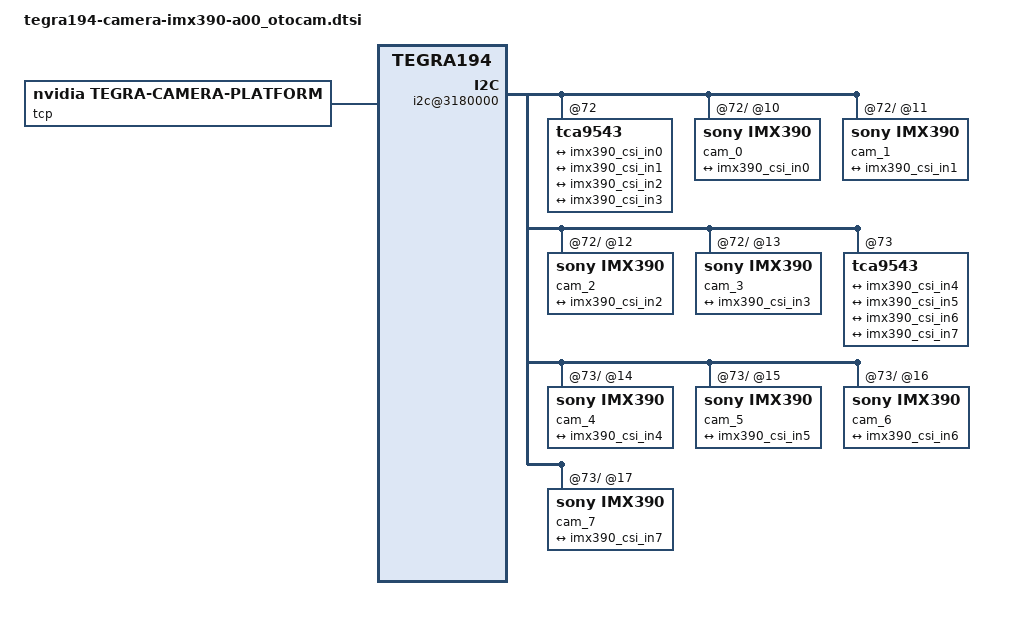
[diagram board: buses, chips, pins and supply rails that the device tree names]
/*
 * Copyright (c) 2018-2021, NVIDIA CORPORATION.  All rights reserved.
 *
 * This program is free software; you can redistribute it and/or modify it
 * under the terms and conditions of the GNU General Public License,
 * version 2, as published by the Free Software Foundation.
 *
 * This program is distributed in the hope it will be useful, but WITHOUT
 * ANY WARRANTY; without even the implied warranty of MERCHANTABILITY or
 * FITNESS FOR A PARTICULAR PURPOSE.  See the GNU General Public License for
 * more details.
 *
 * You should have received a copy of the GNU General Public License
 * along with this program.  If not, see <http://www.gnu.org/licenses/>.
 */
//#include <./tegra234-otocam-camera-all-mode.dtsi>
/ {
	tegra-capture-vi {
		num-channels = <8>;
		ports {
			#address-cells = <1>;
			#size-cells = <0>;
			port@0 {
				reg = <0>;
				imx390_vi_in0: endpoint {
					vc-id = <0>;
					port-index = <0>;
					bus-width = <4>;
					remote-endpoint = <&imx390_csi_out0>;
				};
			};
			port@1 {
				reg = <1>;
				imx390_vi_in1: endpoint {
					vc-id = <1>;
					port-index = <0>;
					bus-width = <4>;
					remote-endpoint = <&imx390_csi_out1>;
				};
			};
			port@2 {
					reg = <2>;
					imx390_vi_in2: endpoint {
						vc-id = <0>;
						port-index = <2>;
						bus-width = <4>;
						remote-endpoint = <&imx390_csi_out2>;
					};
				};
				port@3 {
					reg = <3>;
					imx390_vi_in3: endpoint {
						vc-id = <1>;
						port-index = <2>;
						bus-width = <4>;
						remote-endpoint = <&imx390_csi_out3>;
					};
				};
				port@4 {
					reg = <4>;
					imx390_vi_in4: endpoint {
						vc-id = <0>;
						port-index = <4>;
						bus-width = <4>;
						remote-endpoint = <&imx390_csi_out4>;
					};
				};
				port@5 {
					reg = <5>;
					imx390_vi_in5: endpoint {
						vc-id = <1>;
						port-index = <4>;
						bus-width = <4>;
						remote-endpoint = <&imx390_csi_out5>;
					};
				};
				port@6 {
					reg = <6>;
					imx390_vi_in6: endpoint {
						vc-id = <0>;
						port-index = <5>;
						bus-width = <4>;
						remote-endpoint = <&imx390_csi_out6>;
					};
				};
				port@7 {
					reg = <7>;
					imx390_vi_in7: endpoint {
						vc-id = <1>;
						port-index = <5>;
						bus-width = <4>;
						remote-endpoint = <&imx390_csi_out7>;
					};
				};
		};
	};

	host1x@13e00000 {
		nvcsi@15a00000 {
			num-channels = <8>;
			#address-cells = <1>;
			#size-cells = <0>;
			channel@0 {
				reg = <0>;
				ports {
					#address-cells = <1>;
					#size-cells = <0>;
					port@0 {
						reg = <0>;
						imx390_csi_in0: endpoint@0 {
							port-index = <0>;
							bus-width = <4>;
							remote-endpoint = <&imx390_out0>;
						};
					};
					port@1 {
						reg = <1>;
						imx390_csi_out0: endpoint@1 {
							remote-endpoint = <&imx390_vi_in0>;
						};
					};
				};
			};
			channel@1 {
				reg = <1>;
				ports {
					#address-cells = <1>;
					#size-cells = <0>;
					port@0 {
						reg = <0>;
						imx390_csi_in1: endpoint@2 {
							port-index = <0>;
							bus-width = <4>;
							remote-endpoint = <&imx390_out1>;
						};
					};
					port@1 {
						reg = <1>;
						imx390_csi_out1: endpoint@3 {
							remote-endpoint = <&imx390_vi_in1>;
						};
					};
				};
			};
			channel@2 {
				reg = <2>;
				ports {
					#address-cells = <1>;
					#size-cells = <0>;
					port@0 {
						reg = <0>;
						imx390_csi_in2: endpoint@4 {
							port-index = <2>;
							bus-width = <4>;
							remote-endpoint = <&imx390_out2>;
						};
					};
					port@1 {
						reg = <1>;
						imx390_csi_out2: endpoint@5 {
							remote-endpoint = <&imx390_vi_in2>;
						};
					};
				};
			};
			channel@3 {
				reg = <3>;
				ports {
					#address-cells = <1>;
					#size-cells = <0>;
					port@0 {
						reg = <0>;
						imx390_csi_in3: endpoint@6 {
							port-index = <2>;
							bus-width = <4>;
							remote-endpoint = <&imx390_out3>;
						};
					};
					port@1 {
						reg = <1>;
						imx390_csi_out3: endpoint@7 {
							remote-endpoint = <&imx390_vi_in3>;
						};
					};
				};
			};
			channel@4 {
				reg = <4>;
				ports {
					#address-cells = <1>;
					#size-cells = <0>;
					port@0 {
						reg = <0>;
						imx390_csi_in4: endpoint@8 {
							port-index = <4>;
							bus-width = <4>;
							remote-endpoint = <&imx390_out4>;
						};
					};
					port@1 {
						reg = <1>;
						imx390_csi_out4: endpoint@9 {
							remote-endpoint = <&imx390_vi_in4>;
						};
					};
				};
			};
			channel@5 {
				reg = <5>;
				ports {
					#address-cells = <1>;
					#size-cells = <0>;
					port@0 {
						reg = <0>;
						imx390_csi_in5: endpoint@10 {
							port-index = <4>;
							bus-width = <4>;
							remote-endpoint = <&imx390_out5>;
						};
					};
					port@1 {
						reg = <1>;
						imx390_csi_out5: endpoint@11 {
							remote-endpoint = <&imx390_vi_in5>;
						};
					};
				};
			};
			channel@6 {
				reg = <6>;
				ports {
					#address-cells = <1>;
					#size-cells = <0>;
					port@0 {
						reg = <0>;
						imx390_csi_in6: endpoint@12 {
							port-index = <6>;
							bus-width = <4>;
							remote-endpoint = <&imx390_out6>;
						};
					};
					port@1 {
						reg = <1>;
						imx390_csi_out6: endpoint@13 {
							remote-endpoint = <&imx390_vi_in6>;
						};
					};
				};
			};
			channel@7 {
				reg = <7>;
				ports {
					#address-cells = <1>;
					#size-cells = <0>;
					port@0 {
						reg = <0>;
						imx390_csi_in7: endpoint@14 {
							port-index = <6>;
							bus-width = <4>;
							remote-endpoint = <&imx390_out7>;
						};
					};
					port@1 {
						reg = <1>;
						imx390_csi_out7: endpoint@15 {
							remote-endpoint = <&imx390_vi_in7>;
						};
					};
				};
			};
		};
	};

i2c@3180000 {
		tca9543@72 {
		i2c@0 {
		cam_0: imx390@10 {
				compatible = "sony,imx390","nvidia,imx390isp";

				def-addr = <0x6d>;	

				/* Physical dimensions of sensor */
				physical_w = "15.0";
				physical_h = "12.5";

				sensor_model ="imx390isp";

				/* Defines number of frames to be dropped by driver internally after applying */
				/* sensor crop settings. Some sensors send corrupt frames after applying */
				/* crop co-ordinates */
				post_crop_frame_drop = "0";

				/* Convert Gain to unit of dB (decibel) befor passing to kernel driver */
				//use_decibel_gain = "true";	// FIX:?

				/* enable CID_SENSOR_MODE_ID for sensor modes selection */
				use_sensor_mode_id = "true";
				mode0 {
					mclk_khz = "24000";
					tegra_sinterface = "serial_a";
					vc_id = "0";
					num_lanes = "4";
					discontinuous_clk = "no";
					dpcm_enable = "false";
					cil_settletime = "0";
					//dynamic_pixel_bit_depth = "16";
					csi_pixel_bit_depth = "16";
					mode_type = "yuv";
					pixel_phase = "uyvy";

					active_w = "1920";
					active_h = "1080";
					readout_orientation = "0";
					line_length = "2200";
					inherent_gain = "1";
					//pix_clk_hz = "187000000";
					pix_clk_hz =	"374000000";
					//pix_clk_hz = "74250000";//test
					//serdes_pix_clk_hz = "833333333";//test


					gain_factor = "10";
					min_gain_val = "0"; /* dB */
					max_gain_val = "300"; /* dB */
					step_gain_val = "3"; /* 0.3 */
					default_gain = "0";
					min_hdr_ratio = "1";
					max_hdr_ratio = "1";
					framerate_factor = "1000000";
					min_framerate = "30000000";
					max_framerate = "30000000";
					step_framerate = "1";
					default_framerate = "30000000";
					exposure_factor = "1000000";
					min_exp_time = "59"; /*us, 2 lines*/
					max_exp_time = "33333";
					step_exp_time = "1";
					default_exp_time = "33333";/* us */
					embedded_metadata_height = "0";
					
				};
				ports {
					#address-cells = <1>;
					#size-cells = <0>;
					port@0 {
						reg = <0>;
						imx390_out0: endpoint {
							vc-id = <0>;
							port-index = <0>;
							bus-width = <4>;
							remote-endpoint = <&imx390_csi_in0>;
						};
					};
				};
				gmsl-link {
					src-csi-port = "b";
					dst-csi-port = "a";
					serdes-csi-link = "a";
					csi-mode = "1x4";
					st-vc = <0>;
					vc-id = <0>;
					num-lanes = <4>;
					streams = "ued-u1","yuv8";	// FIX:*
					//streams = "ued-u1", "raw12";	// FIX:-
				};
			};


			cam_1: imx390@11{
				compatible = "sony,imx390","nvidia,imx390isp";

				def-addr = <0x6d>;	// FIX:+
				//reg = <0x1b>;	// FIX:-

				/* Physical dimensions of sensor */
				physical_w = "15.0";
				physical_h = "12.5";

				sensor_model ="imx390isp";

				/* Defines number of frames to be dropped by driver internally after applying */
				/* sensor crop settings. Some sensors send corrupt frames after applying */
				/* crop co-ordinates */
				post_crop_frame_drop = "0";

				/* Convert Gain to unit of dB (decibel) befor passing to kernel driver */
				//use_decibel_gain = "true";	// FIX:?

				/* enable CID_SENSOR_MODE_ID for sensor modes selection */
				use_sensor_mode_id = "true";
				mode0 {
					mclk_khz = "24000";
					tegra_sinterface = "serial_a";
					vc_id = "1";
					num_lanes = "4";
					discontinuous_clk = "no";
					dpcm_enable = "false";
					cil_settletime = "0";
					//dynamic_pixel_bit_depth = "16";
					csi_pixel_bit_depth = "16";
					mode_type = "yuv";
					pixel_phase = "uyvy";

					active_w = "1920";
					active_h = "1080";
					readout_orientation = "0";
					line_length = "2200";
					inherent_gain = "1";
					pix_clk_hz = "374000000";	
					//pix_clk_hz = "74250000";//test
					//serdes_pix_clk_hz = "833333333";//test

					gain_factor = "10";
					min_gain_val = "0"; /* dB */
					max_gain_val = "300"; /* dB */
					step_gain_val = "3"; /* 0.3 */
					default_gain = "0";
					min_hdr_ratio = "1";
					max_hdr_ratio = "1";
					framerate_factor = "1000000";
					min_framerate = "30000000";
					max_framerate = "30000000";
					step_framerate = "1";
					default_framerate = "30000000";
					exposure_factor = "1000000";
					min_exp_time = "59"; /*us, 2 lines*/
					max_exp_time = "33333";
					step_exp_time = "1";
					default_exp_time = "33333";/* us */
					embedded_metadata_height = "0";
				};
				ports {
					#address-cells = <1>;
					#size-cells = <0>;
					port@0 {
						reg = <0>;
						imx390_out1: endpoint {
							vc-id = <1>;
							port-index = <0>;
							bus-width = <4>;
							remote-endpoint = <&imx390_csi_in1>;
						};
					};
				};
				gmsl-link {
					src-csi-port = "b";
					dst-csi-port = "a";
					serdes-csi-link = "b";
					csi-mode = "1x4";
					st-vc = <0>;
					vc-id = <1>;
					num-lanes = <4>;
					streams = "ued-u1","yuv8";	// FIX:*
				};
			};
			
			};

		     i2c@1 {
			cam_2: imx390@12 {
				compatible = "sony,imx390","nvidia,imx390isp";

				def-addr = <0x6d>;	// FIX:+
				//reg = <0x1b>;	// FIX:-

				/* Physical dimensions of sensor */
				physical_w = "15.0";
				physical_h = "12.5";

				sensor_model ="imx390isp";

				/* Defines number of frames to be dropped by driver internally after applying */
				/* sensor crop settings. Some sensors send corrupt frames after applying */
				/* crop co-ordinates */
				post_crop_frame_drop = "0";

				/* Convert Gain to unit of dB (decibel) befor passing to kernel driver */
				//use_decibel_gain = "true";	// FIX:?

				/* enable CID_SENSOR_MODE_ID for sensor modes selection */
				use_sensor_mode_id = "true";

				mode0 {
					tegra_sinterface = "serial_c";
					vc_id = "0";
					mclk_khz = "24000";
					num_lanes = "4";
					discontinuous_clk = "no";
					dpcm_enable = "false";
					cil_settletime = "0";
					//dynamic_pixel_bit_depth = "16";
					csi_pixel_bit_depth = "16";
					mode_type = "yuv";
					pixel_phase = "uyvy";

					active_w = "1920";
					active_h = "1080";
					readout_orientation = "0";
					line_length = "2200";
					inherent_gain = "1";
					pix_clk_hz = "374000000";	// FIX:* 74250000
					//serdes_pix_clk_hz = "200000000";	// FIX:-

					gain_factor = "10";
					min_gain_val = "0"; /* dB */
					max_gain_val = "300"; /* dB */
					step_gain_val = "3"; /* 0.3 */
					default_gain = "0";
					min_hdr_ratio = "1";
					max_hdr_ratio = "1";
					framerate_factor = "1000000";
					min_framerate = "30000000";
					max_framerate = "30000000";
					step_framerate = "1";
					default_framerate = "30000000";
					exposure_factor = "1000000";
					min_exp_time = "59"; /*us, 2 lines*/
					max_exp_time = "33333";
					step_exp_time = "1";
					default_exp_time = "33333";/* us */
					embedded_metadata_height = "0";
				};
				ports {
					#address-cells = <1>;
					#size-cells = <0>;
					port@0 {
						reg = <0>;
						imx390_out2: endpoint {
							vc-id = <0>;
							port-index = <2>;
							bus-width = <4>;
							remote-endpoint = <&imx390_csi_in2>;
						};
					};
				};
				gmsl-link {
					src-csi-port = "b";
					dst-csi-port = "a";
					serdes-csi-link = "a";
					csi-mode = "1x4";
					st-vc = <0>;
					vc-id = <0>;
					num-lanes = <4>;
					streams = "yuv8","ued-u1";
				};
			};

			cam_3: imx390@13 {
				compatible = "sony,imx390","nvidia,imx390isp";

				def-addr = <0x6d>;	// FIX:+
				//reg = <0x1b>;	// FIX:-

				/* Physical dimensions of sensor */
				physical_w = "15.0";
				physical_h = "12.5";

				sensor_model ="imx390isp";

				/* Defines number of frames to be dropped by driver internally after applying */
				/* sensor crop settings. Some sensors send corrupt frames after applying */
				/* crop co-ordinates */
				post_crop_frame_drop = "0";

				/* Convert Gain to unit of dB (decibel) befor passing to kernel driver */
				//use_decibel_gain = "true";	// FIX:?

				/* enable CID_SENSOR_MODE_ID for sensor modes selection */
				use_sensor_mode_id = "true";
				mode0 {
					tegra_sinterface = "serial_c";
					vc_id = "1";
					mclk_khz = "24000";
					num_lanes = "4";
					discontinuous_clk = "no";
					dpcm_enable = "false";
					cil_settletime = "0";
					//dynamic_pixel_bit_depth = "16";
					csi_pixel_bit_depth = "16";
					mode_type = "yuv";
					pixel_phase = "uyvy";

					active_w = "1920";
					active_h = "1080";
					readout_orientation = "0";
					line_length = "2200";
					inherent_gain = "1";
					pix_clk_hz = "374000000";	// FIX:* 74250000
					//serdes_pix_clk_hz = "200000000";	// FIX:-

					gain_factor = "10";
					min_gain_val = "0"; /* dB */
					max_gain_val = "300"; /* dB */
					step_gain_val = "3"; /* 0.3 */
					default_gain = "0";
					min_hdr_ratio = "1";
					max_hdr_ratio = "1";
					framerate_factor = "1000000";
					min_framerate = "30000000";
					max_framerate = "30000000";
					step_framerate = "1";
					default_framerate = "30000000";
					exposure_factor = "1000000";
					min_exp_time = "59"; /*us, 2 lines*/
					max_exp_time = "33333";
					step_exp_time = "1";
					default_exp_time = "33333";/* us */
					embedded_metadata_height = "0";
				};
				ports {
					#address-cells = <1>;
					#size-cells = <0>;
					port@0 {
						reg = <0>;
						imx390_out3: endpoint {
							vc-id = <1>;
							port-index = <2>;
							bus-width = <4>;
							remote-endpoint = <&imx390_csi_in3>;
						};
					};
				};
				gmsl-link {
					src-csi-port = "b";
					dst-csi-port = "a";
					serdes-csi-link = "b";
					csi-mode = "1x4";
					st-vc = <0>;
					vc-id = <1>;
					num-lanes = <4>;
					streams = "yuv8","ued-u1";
				};
			
			};
			};
			};
			
			tca9543@73{
			i2c@0 {
			cam_4: imx390@14 {
				compatible = "sony,imx390","nvidia,imx390isp";

				def-addr = <0x6d>;	// FIX:+
				//reg = <0x1b>;	// FIX:-

				/* Physical dimensions of sensor */
				physical_w = "15.0";
				physical_h = "12.5";

				sensor_model ="imx390isp";

				/* Defines number of frames to be dropped by driver internally after applying */
				/* sensor crop settings. Some sensors send corrupt frames after applying */
				/* crop co-ordinates */
				post_crop_frame_drop = "0";

				/* Convert Gain to unit of dB (decibel) befor passing to kernel driver */
				//use_decibel_gain = "true";	// FIX:?

				/* enable CID_SENSOR_MODE_ID for sensor modes selection */
				use_sensor_mode_id = "true";

				mode0 {
					tegra_sinterface = "serial_e";
					vc_id = "0";
					mclk_khz = "24000";
					num_lanes = "4";
					discontinuous_clk = "no";
					dpcm_enable = "false";
					cil_settletime = "0";
					//dynamic_pixel_bit_depth = "16";
					csi_pixel_bit_depth = "16";
					mode_type = "yuv";
					pixel_phase = "uyvy";

					active_w = "1920";
					active_h = "1080";
					readout_orientation = "0";
					line_length = "2200";
					inherent_gain = "1";
					pix_clk_hz = "374000000";	// FIX:* 74250000
					//serdes_pix_clk_hz = "200000000";	// FIX:-

					gain_factor = "10";
					min_gain_val = "0"; /* dB */
					max_gain_val = "300"; /* dB */
					step_gain_val = "3"; /* 0.3 */
					default_gain = "0";
					min_hdr_ratio = "1";
					max_hdr_ratio = "1";
					framerate_factor = "1000000";
					min_framerate = "30000000";
					max_framerate = "30000000";
					step_framerate = "1";
					default_framerate = "30000000";
					exposure_factor = "1000000";
					min_exp_time = "59"; /*us, 2 lines*/
					max_exp_time = "33333";
					step_exp_time = "1";
					default_exp_time = "33333";/* us */
					embedded_metadata_height = "0";
				};
				ports {
					#address-cells = <1>;
					#size-cells = <0>;
					port@0 {
						reg = <0>;
						imx390_out4: endpoint {
							vc-id = <0>;
							port-index = <4>;
							bus-width = <4>;
							remote-endpoint = <&imx390_csi_in4>;
						};
					};
				};
				gmsl-link {
					src-csi-port = "b";
					dst-csi-port = "a";
					serdes-csi-link = "a";
					csi-mode = "1x4";
					st-vc = <0>;
					vc-id = <0>;
					num-lanes = <4>;
					streams = "yuv8","ued-u1";
					//streams = "ued-u1", "raw12";	// FIX:-
				};
			};
			
			cam_5: imx390@15 {
				compatible = "sony,imx390","nvidia,imx390isp";

				def-addr = <0x6d>;	// FIX:+
				//reg = <0x1b>;	// FIX:-

				/* Physical dimensions of sensor */
				physical_w = "15.0";
				physical_h = "12.5";

				sensor_model ="imx390isp";

				/* Defines number of frames to be dropped by driver internally after applying */
				/* sensor crop settings. Some sensors send corrupt frames after applying */
				/* crop co-ordinates */
				post_crop_frame_drop = "0";

				/* Convert Gain to unit of dB (decibel) befor passing to kernel driver */
				//use_decibel_gain = "true";	// FIX:?

				/* enable CID_SENSOR_MODE_ID for sensor modes selection */
				use_sensor_mode_id = "true";
				mode0 {
					tegra_sinterface = "serial_e";
					vc_id = "1";
					mclk_khz = "24000";
					num_lanes = "4";
					discontinuous_clk = "no";
					dpcm_enable = "false";
					cil_settletime = "0";
					//dynamic_pixel_bit_depth = "16";
					csi_pixel_bit_depth = "16";
					mode_type = "yuv";
					pixel_phase = "uyvy";

					active_w = "1920";
					active_h = "1080";
					readout_orientation = "0";
					line_length = "2200";
					inherent_gain = "1";
					pix_clk_hz = "374000000";	// FIX:* 74250000
					//serdes_pix_clk_hz = "200000000";	// FIX:-

					gain_factor = "10";
					min_gain_val = "0"; /* dB */
					max_gain_val = "300"; /* dB */
					step_gain_val = "3"; /* 0.3 */
					default_gain = "0";
					min_hdr_ratio = "1";
					max_hdr_ratio = "1";
					framerate_factor = "1000000";
					min_framerate = "30000000";
					max_framerate = "30000000";
					step_framerate = "1";
					default_framerate = "30000000";
					exposure_factor = "1000000";
					min_exp_time = "59"; /*us, 2 lines*/
					max_exp_time = "33333";
					step_exp_time = "1";
					default_exp_time = "33333";/* us */
					embedded_metadata_height = "0";
				};
				ports {
					#address-cells = <1>;
					#size-cells = <0>;
					port@0 {
						reg = <0>;
						imx390_out5: endpoint {
							vc-id = <1>;
							port-index = <4>;
							bus-width = <4>;
							remote-endpoint = <&imx390_csi_in5>;
						};
					};
				};
				gmsl-link {
					src-csi-port = "b";
					dst-csi-port = "a";
					serdes-csi-link = "b";
					csi-mode = "1x4";
					st-vc = <0>;
					vc-id = <1>;
					num-lanes = <4>;
					streams = "yuv8","ued-u1";
				};
			};
			};
			
			i2c@1 {
			cam_6: imx390@16 {
				compatible = "sony,imx390","nvidia,imx390isp";

				def-addr = <0x6d>;	// FIX:+
				//reg = <0x1b>;	// FIX:-

				/* Physical dimensions of sensor */
				physical_w = "15.0";
				physical_h = "12.5";

				sensor_model ="imx390isp";

				/* Defines number of frames to be dropped by driver internally after applying */
				/* sensor crop settings. Some sensors send corrupt frames after applying */
				/* crop co-ordinates */
				post_crop_frame_drop = "0";

				/* Convert Gain to unit of dB (decibel) befor passing to kernel driver */
				//use_decibel_gain = "true";	// FIX:?

				/* enable CID_SENSOR_MODE_ID for sensor modes selection */
				use_sensor_mode_id = "true";
				mode0 {
					tegra_sinterface = "serial_g";
					vc_id = "0";
					mclk_khz = "24000";
					num_lanes = "4";
					discontinuous_clk = "no";
					dpcm_enable = "false";
					cil_settletime = "0";
					//dynamic_pixel_bit_depth = "16";
					csi_pixel_bit_depth = "16";
					mode_type = "yuv";
					pixel_phase = "uyvy";

					active_w = "1920";
					active_h = "1080";
					readout_orientation = "0";
					line_length = "2200";
					inherent_gain = "1";
					pix_clk_hz = "374000000";	// FIX:* 74250000
					//serdes_pix_clk_hz = "200000000";	// FIX:-

					gain_factor = "10";
					min_gain_val = "0"; /* dB */
					max_gain_val = "300"; /* dB */
					step_gain_val = "3"; /* 0.3 */
					default_gain = "0";
					min_hdr_ratio = "1";
					max_hdr_ratio = "1";
					framerate_factor = "1000000";
					min_framerate = "30000000";
					max_framerate = "30000000";
					step_framerate = "1";
					default_framerate = "30000000";
					exposure_factor = "1000000";
					min_exp_time = "59"; /*us, 2 lines*/
					max_exp_time = "33333";
					step_exp_time = "1";
					default_exp_time = "33333";/* us */
					embedded_metadata_height = "0";
				};
				ports {
					#address-cells = <1>;
					#size-cells = <0>;
					port@0 {
						reg = <0>;
						imx390_out6: endpoint {
							vc-id = <0>;
							port-index = <6>;
							bus-width = <4>;
							remote-endpoint = <&imx390_csi_in6>;
						};
					};
				};
				gmsl-link {
					src-csi-port = "b";
					dst-csi-port = "a";
					serdes-csi-link = "a";
					csi-mode = "1x4";
					st-vc = <0>;
					vc-id = <0>;
					num-lanes = <4>;
					streams = "yuv8","ued-u1";
				};
			};
			
			cam_7: imx390@17 {
				compatible = "sony,imx390","nvidia,imx390isp";

				def-addr = <0x6d>;	// FIX:+
				//reg = <0x1b>;	// FIX:-

				/* Physical dimensions of sensor */
				physical_w = "15.0";
				physical_h = "12.5";

				sensor_model ="imx390isp";

				/* Defines number of frames to be dropped by driver internally after applying */
				/* sensor crop settings. Some sensors send corrupt frames after applying */
				/* crop co-ordinates */
				post_crop_frame_drop = "0";

				/* Convert Gain to unit of dB (decibel) befor passing to kernel driver */
				//use_decibel_gain = "true";	// FIX:?

				/* enable CID_SENSOR_MODE_ID for sensor modes selection */
				use_sensor_mode_id = "true";
				mode0 {
					tegra_sinterface = "serial_g";
					vc_id = "1";
					mclk_khz = "24000";
					num_lanes = "4";
					discontinuous_clk = "no";
					dpcm_enable = "false";
					cil_settletime = "0";
					//dynamic_pixel_bit_depth = "16";
					csi_pixel_bit_depth = "16";
					mode_type = "yuv";
					pixel_phase = "uyvy";

					active_w = "1920";
					active_h = "1080";
					readout_orientation = "0";
					line_length = "2200";
					inherent_gain = "1";
					pix_clk_hz = "374000000";	// FIX:* 74250000
					//serdes_pix_clk_hz = "200000000";	// FIX:-

					gain_factor = "10";
					min_gain_val = "0"; /* dB */
					max_gain_val = "300"; /* dB */
					step_gain_val = "3"; /* 0.3 */
					default_gain = "0";
					min_hdr_ratio = "1";
					max_hdr_ratio = "1";
					framerate_factor = "1000000";
					min_framerate = "30000000";
					max_framerate = "30000000";
					step_framerate = "1";
					default_framerate = "30000000";
					exposure_factor = "1000000";
					min_exp_time = "59"; /*us, 2 lines*/
					max_exp_time = "33333";
					step_exp_time = "1";
					default_exp_time = "33333";/* us */
					embedded_metadata_height = "0";
				};
				ports {
					#address-cells = <1>;
					#size-cells = <0>;
					port@0 {
						reg = <0>;
						imx390_out7: endpoint {
							vc-id = <1>;
							port-index = <6>;
							bus-width = <4>;
							remote-endpoint = <&imx390_csi_in7>;
						};
					};
				};
				gmsl-link {
					src-csi-port = "b";
					dst-csi-port = "a";
					serdes-csi-link = "b";
					csi-mode = "1x4";
					st-vc = <0>;
					vc-id = <1>;
					num-lanes = <4>;
					streams = "yuv8","ued-u1";
				};
			};
		};
		};
};


};

/ {

	tcp: tegra-camera-platform {
		compatible = "nvidia, tegra-camera-platform";
		/**
		* Physical settings to calculate max ISO BW
		*
		* num_csi_lanes = <>;
		* Total number of CSI lanes when all cameras are active
		*
		* max_lane_speed = <>;
		* Max lane speed in Kbit/s
		*
		* min_bits_per_pixel = <>;
		* Min bits per pixel
		*
		* vi_peak_byte_per_pixel = <>;
		* Max byte per pixel for the VI ISO case
		*
		* vi_bw_margin_pct = <>;
		* Vi bandwidth margin in percentage
		*
		* max_pixel_rate = <>;
		* Max pixel rate in Kpixel/s for the ISP ISO case
		*
		* isp_peak_byte_per_pixel = <>;
		* Max byte per pixel for the ISP ISO case
		*
		* isp_bw_margin_pct = <>;
		* Isp bandwidth margin in percentage
		*/
		num_csi_lanes = <8>;
//#ifdef CAM_SERDES_GMSL)
		max_lane_speed = <4000000>;
//#else	// CAM_SERDES_FPDL
//		max_lane_speed = <1500000>;	// FIX:?
//#endif
		min_bits_per_pixel = <10>;	// FIX:* 10
		vi_peak_byte_per_pixel = <2>;
		vi_bw_margin_pct = <25>;
		//max_pixel_rate = <800000>;	// FIX:? 160|200|300|750
		isp_peak_byte_per_pixel = <5>;
		isp_bw_margin_pct = <25>;

		/**
		 * The general guideline for naming badge_info contains 3 parts, and is as follows,
		 * The first part is the camera_board_id for the module; if the module is in a FFD
		 * platform, then use the platform name for this part.
		 * The second part contains the position of the module, ex. "rear" or "front".
		 * The third part contains the last 6 characters of a part number which is found
		 * in the module's specsheet from the vender.
		 */
		modules {
			module0 {
				badge = "imx390_rear";
				position = "rear";
				orientation = "1";
				drivernode0 {
					/* Declare PCL support driver (classically known as guid)  */
					pcl_id = "v4l2_sensor";
					/* Driver v4l2 device name */
					devname = "imx390 30-001b";
					/* Declare the device-tree hierarchy to driver instance */
					proc-device-tree = "/proc/device-tree/i2c@3180000/tca9543@72/i2c@0/imx390@10";
				};
			};
			module1 {
				badge = "imx390_front";
				position = "front";
				orientation = "1";
				drivernode0 {
					/* Declare PCL support driver (classically known as guid)  */
					pcl_id = "v4l2_sensor";
					/* Driver v4l2 device name */
					devname = "imx390 30-001c";
					/* Declare the device-tree hierarchy to driver instance */
					proc-device-tree = "/proc/device-tree/i2c@3180000/tca9543@72/i2c@0/imx390@11";
				};
			};
			module2 {
				badge = "imx390_left";
				position = "topright";	// topleft
				orientation = "1";
				drivernode0 {
					/* Declare PCL support driver (classically known as guid)  */
					pcl_id = "v4l2_sensor";
					/* Driver v4l2 device name */
					devname = "imx390 31-001b";
					/* Declare the device-tree hierarchy to driver instance */
					proc-device-tree = "/proc/device-tree/i2c@3180000/tca9543@72/i2c@1/imx390@12";
				};
			};
			module3 {
				badge = "imx390_right";
				position = "bottomright";	// topright
				orientation = "1";
				drivernode0 {
					/* Declare PCL support driver (classically known as guid)  */
					pcl_id = "v4l2_sensor";
					/* Driver v4l2 device name */
					devname = "imx390 31-001c";
					/* Declare the device-tree hierarchy to driver instance */
					proc-device-tree = "/proc/device-tree/i2c@3180000/tca9543@72/i2c@1/imx390@13";
				};
			};
			module4 {
				badge = "imx390_right";
				position = "topleft";	// topright
				orientation = "1";
				drivernode0 {
					/* Declare PCL support driver (classically known as guid)  */
					pcl_id = "v4l2_sensor";
					/* Driver v4l2 device name */
					devname = "imx390 32-001b";
					/* Declare the device-tree hierarchy to driver instance */
					proc-device-tree = "/proc/device-tree/i2c@3180000/tca9543@73/i2c@0/imx390@14";
				};
			};
			module5 {
				badge = "imx390_right";
				position = "centerright";	// topright
				orientation = "1";
				drivernode0 {
					/* Declare PCL support driver (classically known as guid)  */
					pcl_id = "v4l2_sensor";
					/* Driver v4l2 device name */
					devname = "imx390 32-001c";
					/* Declare the device-tree hierarchy to driver instance */
					proc-device-tree = "/proc/device-tree/i2c@3180000/tca9543@73/i2c@0/imx390@15";
				};
			};
			module6 {
				badge = "imx390_right";
				position = "centerleft";	// topright
				orientation = "1";
				drivernode0 {
					/* Declare PCL support driver (classically known as guid)  */
					pcl_id = "v4l2_sensor";
					/* Driver v4l2 device name */
					devname = "imx390 33-001b";
					/* Declare the device-tree hierarchy to driver instance */
					proc-device-tree = "/proc/device-tree/i2c@3180000/tca9543@73/i2c@1/imx390@16";
				};
			};
			module7 {
				badge = "imx390_right";
				position = "bottomleft";	// topright
				orientation = "1";
				drivernode0 {
					/* Declare PCL support driver (classically known as guid)  */
					pcl_id = "v4l2_sensor";
					/* Driver v4l2 device name */
					devname = "imx390 33-001c";
					/* Declare the device-tree hierarchy to driver instance */
					proc-device-tree = "/proc/device-tree/i2c@3180000/tca9543@73/i2c@1/imx390@17";
				};
			};
		};
	};
};
